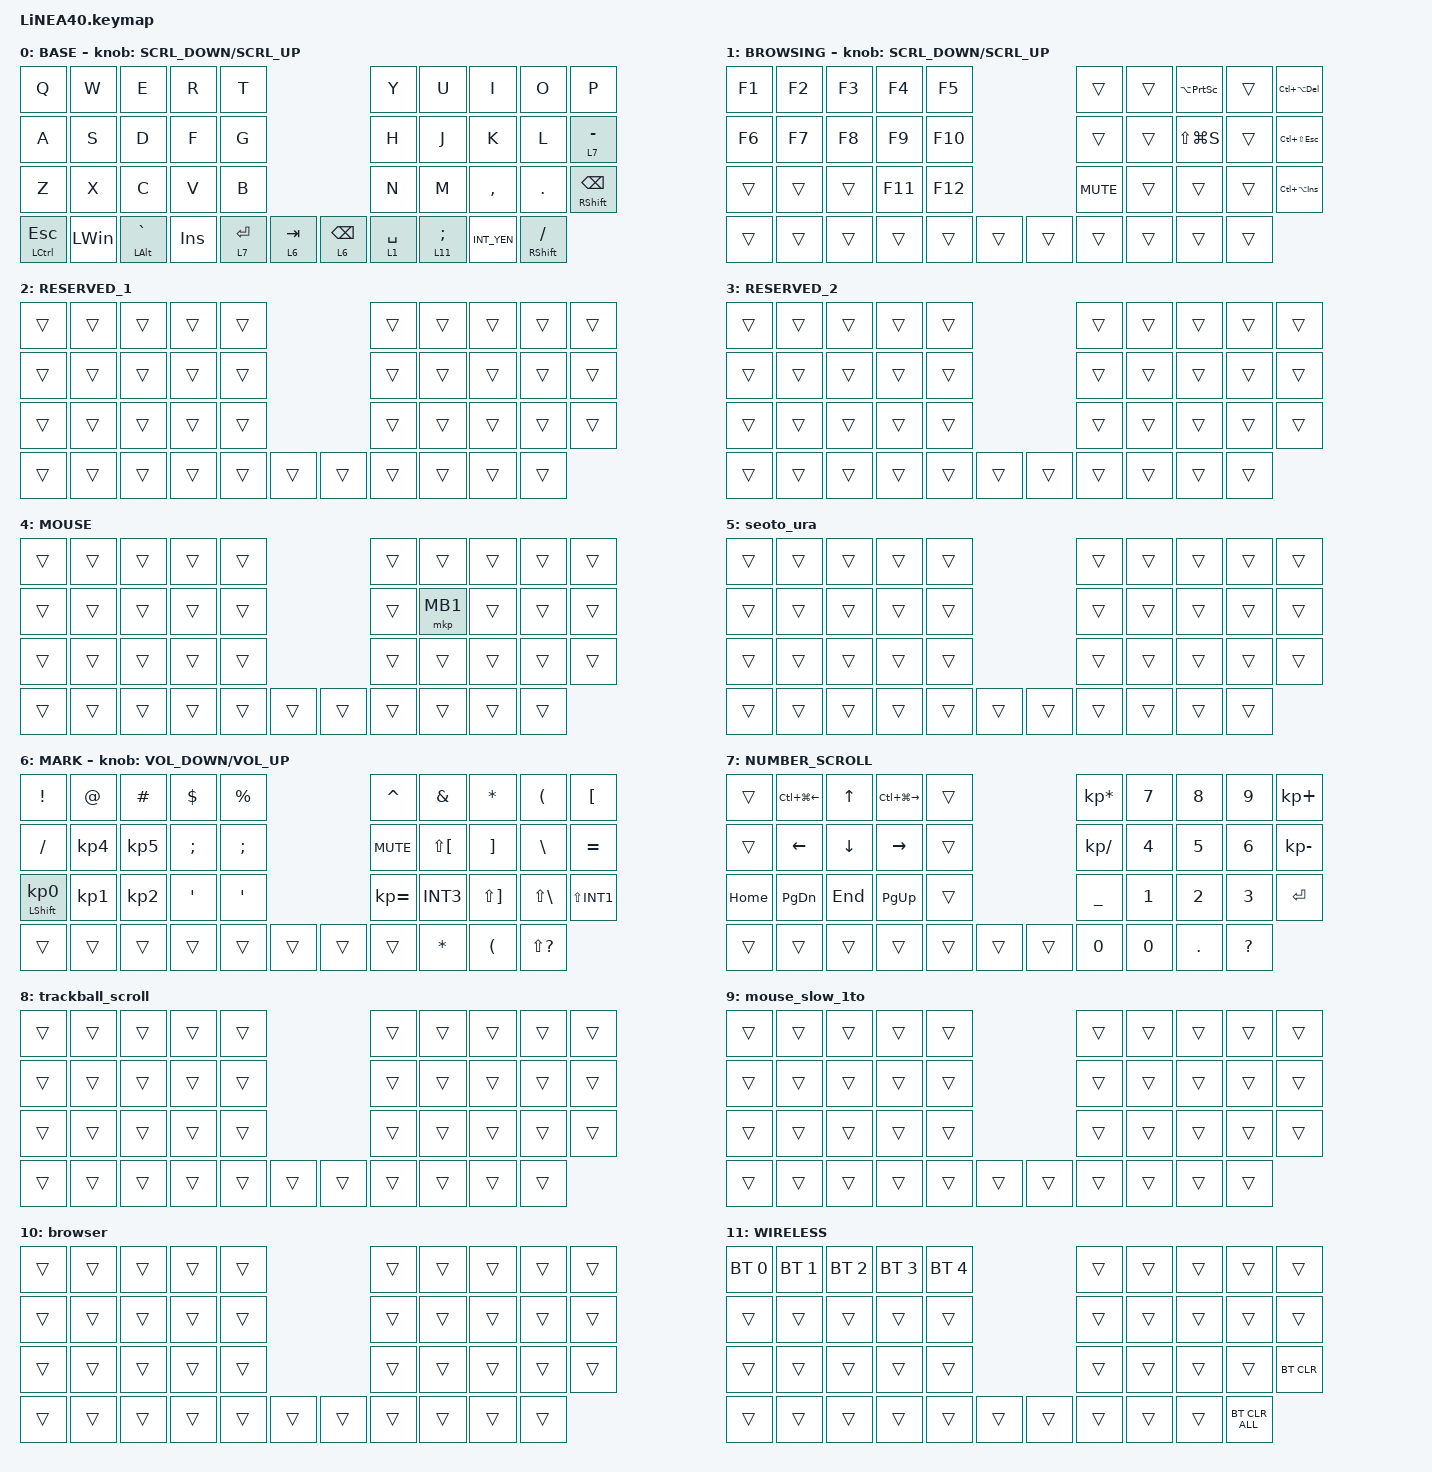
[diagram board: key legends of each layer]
#define ZMK_POINTING_DEFAULT_SCRL_VAL 120
#include <behaviors.dtsi>
#include <dt-bindings/zmk/bt.h>
#include <dt-bindings/zmk/pointing.h>
#include <dt-bindings/zmk/input_transform.h>
#include <input/processors.dtsi>
#include <zephyr/dt-bindings/input/input-event-codes.h>


//mouse cursol
&mmv {
    delay-ms = <20>;
    trigger-period-ms = <5>;
    time-to-max-speed-ms = <100>;
    acceleration-exponent = <2>;
};

//mouse scroll
&msc {
    delay-ms = <3>;
    trigger-period-ms = <3>;
    time-to-max-speed-ms = <100>;
    acceleration-exponent = <0>;
};


/ {
    input_processors {
        zip_wheel_scaler: zip_wheel_scaler {
            compatible = "zmk,input-processor-scaler";
            #input-processor-cells = <2>;
            type = <INPUT_EV_REL>;
            codes = <INPUT_REL_WHEEL>;
            track-remainders;
        };
    };
};

&msc_input_listener {
    speed_up {
        layers = <1>;
        input-processors = <&zip_wheel_scaler 3 1>; //スクロールを3倍速にする
    };
};


&trackball_listener {
    scroller {
        layers = <7>;
        input-processors = <&zip_xy_transform INPUT_TRANSFORM_Y_INVERT> //スクロール方向を逆転
                         , <&zip_xy_to_scroll_mapper>
                         , <&zip_wheel_scaler 1 5>;
    };
};



/ {
        combos {
        compatible = "zmk,combos";

        ZenkakuHankaku {
            bindings = <&kp GRAVE>;
            key-positions = <11 12>;
        };

        DeleteKey {
            bindings = <&kp DEL>;
            key-positions = <7 8>;
        };

        InsertKey {
            bindings = <&kp INS>;
            key-positions = <6 7>;
        };

        CenterClick {
            bindings = <&mkp MB3>;
            key-positions = <17 16>;
        };

        RightClick {
            bindings = <&mkp MB2>;
            key-positions = <18 17>;
        };

        PrevClick {
            bindings = <&mkp MB4>;
            key-positions = <27 28>;
        };

        ClickNext {
            bindings = <&mkp MB5>;
            key-positions = <26 27>;
        };

    };

    behaviors {
        re_kp: sensor_rotate_kp {
            compatible = "zmk,behavior-sensor-rotate-var";
            #sensor-binding-cells = <2>;
            bindings = <&kp>, <&kp>;
        };
        mouse_scrl: mouse_wheel_scrl {
            compatible = "zmk,behavior-sensor-rotate-var";
            #sensor-binding-cells = <2>;
            bindings = <&msc>, <&msc>;
            tap-ms = <20>;
        };
    };

    keymap {
        compatible = "zmk,keymap";

        // 0: BASE
        default_layer {
            display-name = "BASE";
            bindings = <
                &kp Q          &kp W         &kp E               &kp R    &kp T                                    &kp Y        &kp U     &kp I            &kp O        &kp P
                &kp A          &kp S         &kp D               &kp F    &kp G                                    &kp H        &kp J     &kp K            &kp L        &lt 7 MINUS
                &kp Z          &kp X         &kp C               &kp V    &kp B                                    &kp N        &kp M     &kp COMMA        &kp DOT      &mt RIGHT_SHIFT BACKSPACE
                &mt LCTRL ESC  &kp LEFT_WIN  &mt LEFT_ALT GRAVE  &kp INS  &lt 7 ENTER  &lt 6 TAB  &lt 6 BACKSPACE  &lt 1 SPACE            &lt 11 SEMICOLON  &kp INT_YEN  &mt RIGHT_SHIFT SLASH
            >;
            sensor-bindings = <&mouse_scrl SCRL_DOWN SCRL_UP>;
        };

        // 1: BROWSING
        browsing {
            display-name = "BROWSING";
            bindings = <
                &kp F1  &kp F2  &kp F3  &kp F4   &kp F5                     &trans      &trans  &kp LA(PRINTSCREEN)  &trans  &kp LC(LA(DELETE))
                &kp F6  &kp F7  &kp F8  &kp F9   &kp F10                    &trans      &trans  &kp LS(LG(S))        &trans  &kp LC(LS(ESCAPE))
                &trans  &trans  &trans  &kp F11  &kp F12                    &kp C_MUTE  &trans  &trans               &trans  &kp LC(LA(INS))
                &trans  &trans  &trans  &trans   &trans   &trans   &trans   &trans              &trans               &trans  &trans
            >;
            sensor-bindings = <&mouse_scrl SCRL_DOWN SCRL_UP>;
        };

        // 2: RESERVED_1
        reserved_1 {
            display-name = "RESERVED_1";
            bindings = <
&trans &trans &trans &trans &trans &trans &trans &trans &trans &trans
&trans &trans &trans &trans &trans &trans &trans &trans &trans &trans
&trans &trans &trans &trans &trans &trans &trans &trans &trans &trans
&trans &trans &trans &trans &trans &trans &trans &trans &trans &trans &trans
            >;
        };

        // 3: RESERVED_2
        reserved_2 {
            display-name = "RESERVED_2";
            bindings = <
&trans &trans &trans &trans &trans &trans &trans &trans &trans &trans
&trans &trans &trans &trans &trans &trans &trans &trans &trans &trans
&trans &trans &trans &trans &trans &trans &trans &trans &trans &trans
&trans &trans &trans &trans &trans &trans &trans &trans &trans &trans &trans
            >;
        };

        // 4: MOUSE
        mouse {
            display-name = "MOUSE";
            bindings = <
                &trans  &trans  &trans  &trans  &trans                    &trans  &trans    &trans  &trans  &trans
                &trans  &trans  &trans  &trans  &trans                    &trans  &mkp MB1  &trans  &trans  &trans
                &trans  &trans  &trans  &trans  &trans                    &trans  &trans    &trans  &trans  &trans
                &trans  &trans  &trans  &trans  &trans  &trans    &trans  &trans            &trans  &trans  &trans
            >;
        };

        // 5: seoto_ura
        seoto_ura {
            display-name = "seoto_ura";
            bindings = <
&trans &trans &trans &trans &trans &trans &trans &trans &trans &trans
&trans &trans &trans &trans &trans &trans &trans &trans &trans &trans
&trans &trans &trans &trans &trans &trans &trans &trans &trans &trans
&trans &trans &trans &trans &trans &trans &trans &trans &trans &trans &trans
            >;
        };

        // 6: MARK
        mark {
            display-name = "MARK";
            bindings = <
                &kp EXCLAMATION             &kp AT           &kp HASH         &kp DOLLAR     &kp PERCENT                                          &kp CARET     &kp AMPERSAND  &kp ASTERISK           &kp LEFT_PARENTHESIS  &kp LBKT
                &kp SLASH                   &kp KP_NUMBER_4  &kp KP_NUMBER_5  &kp SEMICOLON  &kp SEMICOLON                                        &kp C_MUTE    &kp LS(LBKT)   &kp RIGHT_BRACKET      &kp BACKSLASH         &kp EQUAL
                &mt LEFT_SHIFT KP_NUMBER_0  &kp KP_NUMBER_1  &kp KP_NUMBER_2  &kp APOS       &kp SQT                                              &kp KP_EQUAL  &kp INT3       &kp LS(RIGHT_BRACKET)  &kp LS(BACKSLASH)     &kp LS(INT1)
                &trans                      &trans           &trans           &trans         &trans         &trans          &trans                &trans                       &kp ASTERISK           &kp LEFT_PARENTHESIS  &kp LS(QUESTION)
            >;
            sensor-bindings = <&re_kp C_VOLUME_DOWN C_VOLUME_UP>;
        };

        // 7: NUMBER_SCROLL
        number_scroll {
            display-name = "NUMBER_SCROLL";
             bindings = <
                &trans    &kp LC(LG(LEFT_ARROW))  &kp UP_ARROW  &kp LC(LG(RIGHT_ARROW))  &trans                       &kp KP_MULTIPLY  &kp NUMBER_7  &kp NUMBER_8  &kp NUMBER_9  &kp KP_PLUS
                &trans    &kp LEFT_ARROW          &kp DOWN      &kp RIGHT_ARROW          &trans                       &kp KP_SLASH     &kp NUMBER_4  &kp NUMBER_5  &kp NUMBER_6  &kp KP_MINUS
                &kp HOME  &kp PAGE_DOWN           &kp END       &kp PAGE_UP              &trans                       &kp UNDER        &kp NUMBER_1  &kp NUMBER_2  &kp NUMBER_3  &kp ENTER
                &trans    &trans                  &trans        &trans                   &trans  &trans    &trans  &kp NUMBER_0                   &kp NUMBER_0  &kp DOT       &kp QUESTION
            >;
        };

        // 8: trackball_scroll
        trackball_scroll {
            display-name = "trackball_scroll";
            bindings = <
&trans &trans &trans &trans &trans &trans &trans &trans &trans &trans
&trans &trans &trans &trans &trans &trans &trans &trans &trans &trans
&trans &trans &trans &trans &trans &trans &trans &trans &trans &trans
&trans &trans &trans &trans &trans &trans &trans &trans &trans &trans &trans
            >;
        };

        // 9: mouse_slow_1to
        mouse_slow_1to {
            display-name = "mouse_slow_1to";
            bindings = <
&trans &trans &trans &trans &trans &trans &trans &trans &trans &trans
&trans &trans &trans &trans &trans &trans &trans &trans &trans &trans
&trans &trans &trans &trans &trans &trans &trans &trans &trans &trans
&trans &trans &trans &trans &trans &trans &trans &trans &trans &trans &trans
            >;
        };

        // 10: browser
        browser {
            display-name = "browser";
            bindings = <
&trans &trans &trans &trans &trans &trans &trans &trans &trans &trans
&trans &trans &trans &trans &trans &trans &trans &trans &trans &trans
&trans &trans &trans &trans &trans &trans &trans &trans &trans &trans
&trans &trans &trans &trans &trans &trans &trans &trans &trans &trans &trans
            >;
        };

        // 11: WIRELESS
        wireless {
            display-name = "WIRELESS";
            bindings = <
                &bt BT_SEL 0  &bt BT_SEL 1  &bt BT_SEL 2  &bt BT_SEL 3  &bt BT_SEL 4                 &trans &trans &trans &trans &trans
                &trans        &trans        &trans        &trans        &trans                       &trans &trans &trans &trans &trans
                &trans        &trans        &trans        &trans        &trans                       &trans &trans &trans &trans &bt BT_CLR
                &trans        &trans        &trans        &trans        &trans        &trans  &trans &trans        &trans &trans &bt BT_CLR_ALL
            >;
        };
    };
};
